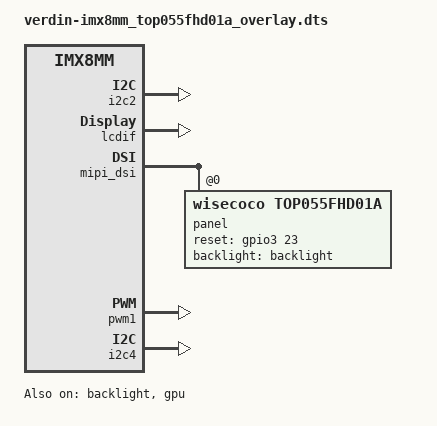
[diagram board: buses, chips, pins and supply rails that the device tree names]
/dts-v1/;
/plugin/;

#include <dt-bindings/gpio/gpio.h>

/ {
	compatible = "toradex,verdin-imx8mm";
};

&backlight {
	pwms = <&pwm1 0 6666667 0>;
	status = "okay";
};

&gpu {
	status = "okay";
};

/* Verdin I2C_2_DSI */
&i2c2 {
	pinctrl-names = "default";
	pinctrl-0 = <&pinctrl_i2c2>;
	status = "okay";
};

&lcdif {
	status = "okay";
};

&mipi_dsi {
	#address-cells = <1>;
	#size-cells = <0>;
	status = "okay";

	panel@0 {
		compatible = "wisecoco,top055fhd01a";
		reg = <0>;
		backlight = <&backlight>;
		pinctrl-names = "default";
		pinctrl-0 = <&pinctrl_i2s_2_bclk_touch_reset>;
		reset-gpios = <&gpio3 23 GPIO_ACTIVE_HIGH>;
		wait-until-enabled;
		status = "okay";
	};
};

/* Verdin PWM_3_DSI */
&pwm1 {
	status = "okay";
};

&i2c4 {
	status = "okay";
};
